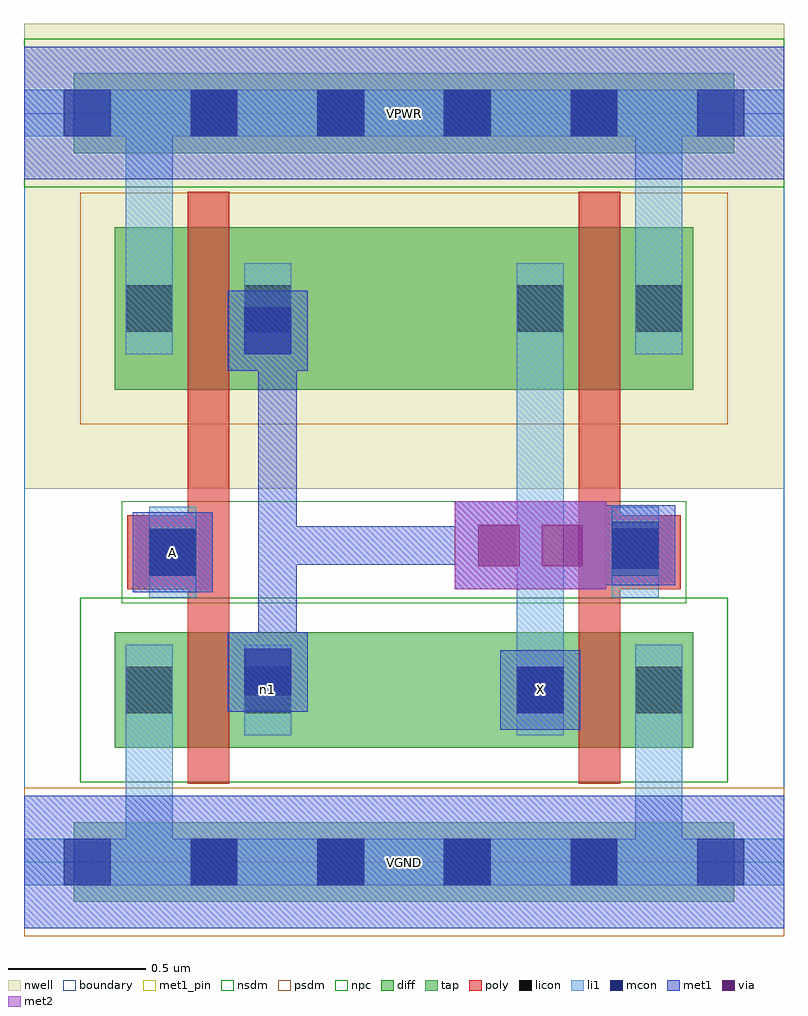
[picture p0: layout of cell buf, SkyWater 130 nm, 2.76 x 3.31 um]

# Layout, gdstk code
import gdstk
lib = gdstk.Library(unit=1e-6, precision=1e-09)
def R(c, l, rs):  # rectangles x0, y0, x1, y1
    for r in rs: c.add(gdstk.rectangle(r[:2], r[2:], *l))
def A(c, l, x, y, w, h, nx, ny, dx, dy):  # array of equal rectangles
    R(c, l, [(x+i*dx, y+j*dy, x+i*dx+w, y+j*dy+h) for i in range(nx) for j in range(ny)])
nwell = (64, 20)
diff = (65, 20)
tap = (65, 44)
poly = (66, 20)
licon = (66, 44)
li1 = (67, 20)
mcon = (67, 44)
met1_pin = (68, 16)
met1 = (68, 20)
via = (68, 44)
met2 = (69, 20)
nsdm = (93, 44)
psdm = (94, 20)
npc = (95, 20)
boundary = (235, 4)

buf = lib.new_cell('buf')
R(buf, nwell, [(0,1.355,2.76,3.045)])
R(buf, diff, [(0.33,0.415,2.43,0.835), (0.33,1.715,2.43,2.305)])
R(buf, tap, [(0.18,-0.145,2.58,0.145), (0.18,2.575,2.58,2.865)])
R(buf, poly, [(0.595,0.285,0.745,2.435), (2.015,0.285,2.165,2.435), (0.375,0.99,0.705,1.26), (2.055,0.99,2.385,1.26)])
A(buf, licon, 0.605, -0.085, 0.17, 0.17, 4, 2, 0.46, 2.72)
R(buf, licon, [(0.37,0.54,0.54,0.71), (0.8,0.54,0.97,0.71), (1.79,0.54,1.96,0.71), (2.22,0.54,2.39,0.71), (0.455,1.04,0.625,1.21), (2.135,1.04,2.305,1.21), (0.37,1.925,0.54,2.095), (0.8,1.925,0.97,2.095), (1.79,1.925,1.96,2.095), (2.22,1.925,2.39,2.095)])
R(buf, li1, [(0,-0.085,2.76,0.085), (0.37,-0.085,0.54,0.79), (2.22,-0.085,2.39,0.79), (0.37,0.46,0.54,0.79), (0.8,0.46,0.97,0.79), (1.79,0.46,1.96,0.79), (1.79,0.46,1.96,2.175), (2.22,0.46,2.39,0.79), (0.455,0.96,0.625,1.29), (2.135,0.96,2.305,1.29), (0.37,1.845,0.54,2.175), (0.37,1.845,0.54,2.805), (0.8,1.845,0.97,2.175), (1.79,1.845,1.96,2.175), (2.22,1.845,2.39,2.175), (2.22,1.845,2.39,2.805), (0,2.635,2.76,2.805)])
A(buf, mcon, 0.145, -0.085, 0.17, 0.17, 6, 2, 0.46, 2.72)
R(buf, mcon, [(1.79,0.54,1.96,0.71), (0.8,0.605,0.97,0.775), (0.455,1.04,0.625,1.21), (2.135,1.065,2.305,1.235), (0.8,1.845,0.97,2.015)])
R(buf, met1_pin, [(0,-0.24,2.76,0.24), (1.73,0.48,2.02,0.77), (0.395,0.98,0.685,1.27), (0,2.48,2.76,2.96)])
R(buf, met1, [(0,-0.24,2.76,0.24), (1.73,0.48,2.02,0.77), (0.74,0.545,1.03,0.835), (0.815,0.62,0.99,0.76), (0.85,0.62,0.99,1.91), (0.395,0.98,0.685,1.27), (1.565,0.99,1.885,1.31), (1.795,0.99,2.115,1.31), (2.075,1.005,2.365,1.295), (0.85,1.08,1.795,1.22), (1.885,1.08,2.14,1.22), (2,1.08,2.29,1.22), (0.85,1.77,0.99,2), (0.74,1.785,1.03,2.075), (0.815,1.86,0.99,2), (0,2.48,2.76,2.96)])
R(buf, via, [(1.65,1.075,1.8,1.225), (1.88,1.075,2.03,1.225)])
R(buf, met2, [(1.565,0.99,1.885,1.31), (1.795,0.99,2.115,1.31), (1.655,1.08,2.025,1.22)])
R(buf, nsdm, [(0.205,0.29,2.555,0.96), (0,2.45,2.76,2.99)])
R(buf, psdm, [(0,-0.27,2.76,0.27), (0.205,1.59,2.555,2.43)])
R(buf, npc, [(0.355,0.94,2.405,1.31)])
R(buf, boundary, [(0,0,2.76,2.72)])
buf.add(gdstk.Label('n1', (0.885,0.625), layer=67, texttype=5))
buf.add(gdstk.Label('A', (0.54,1.125), layer=68, texttype=5))
buf.add(gdstk.Label('X', (1.875,0.625), layer=68, texttype=5))
buf.add(gdstk.Label('VPWR', (1.38,2.72), layer=68, texttype=5))
buf.add(gdstk.Label('VGND', (1.38,0), layer=68, texttype=5))
buf.add(gdstk.Label('A', (0.54,1.125), layer=68, texttype=16))
buf.add(gdstk.Label('X', (1.875,0.625), layer=68, texttype=16))
buf.add(gdstk.Label('VPWR', (1.38,2.72), layer=68, texttype=16))
buf.add(gdstk.Label('VGND', (1.38,0), layer=68, texttype=16))

lib.write_gds('buf.gds')
